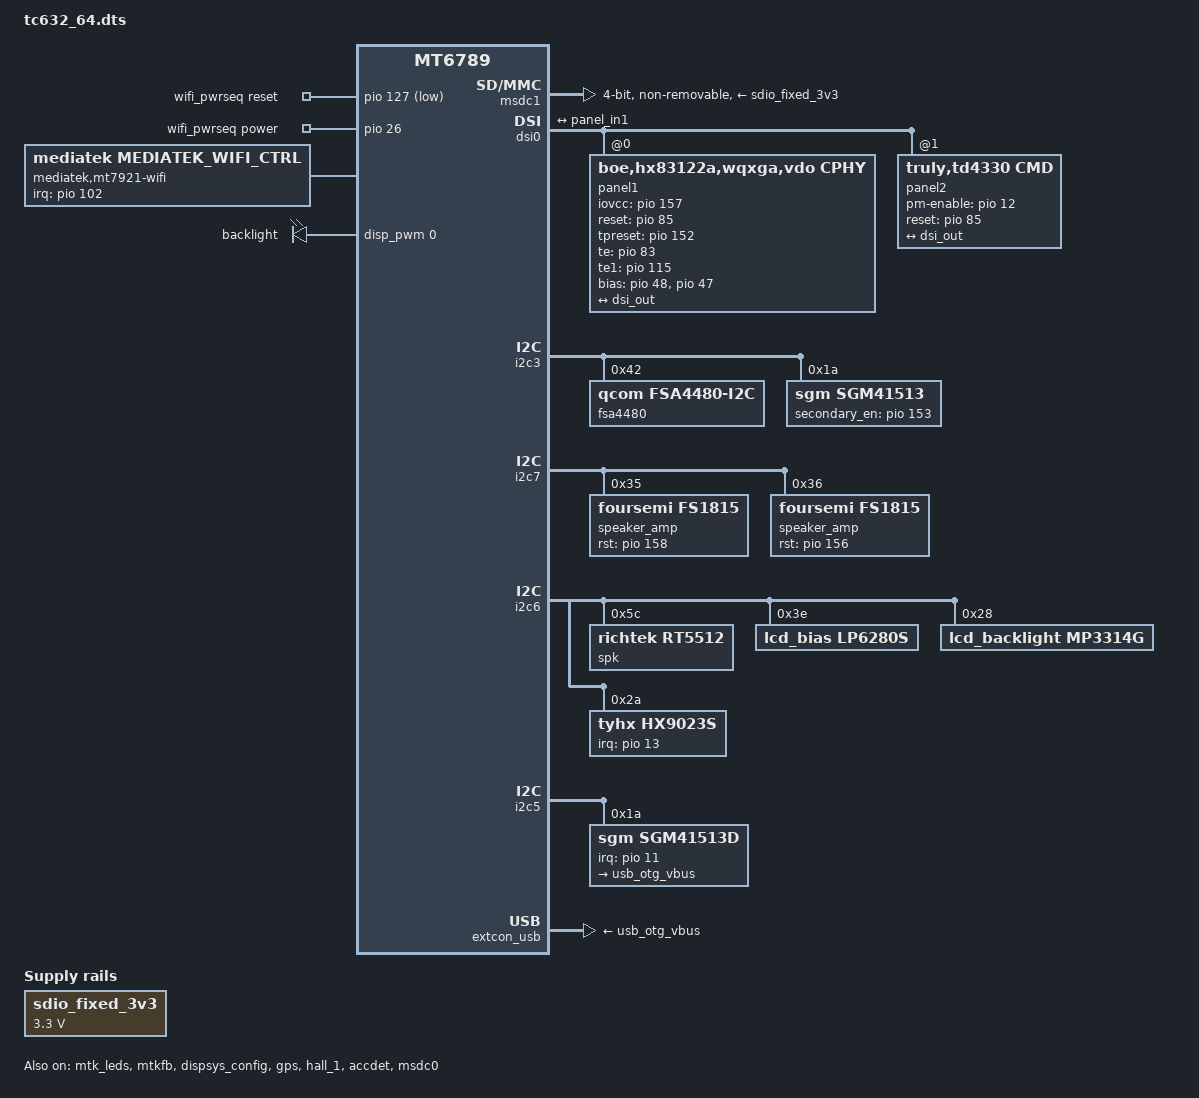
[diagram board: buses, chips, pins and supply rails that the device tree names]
// SPDX-License-Identifier: (GPL-2.0 OR MIT)
/*
 * Copyright (C) 2021 MediaTek Inc.
 */
/dts-v1/;
/plugin/;
#include <dt-bindings/interrupt-controller/arm-gic.h>
#include <dt-bindings/interrupt-controller/irq.h>
#include <dt-bindings/pinctrl/mt6789-pinfunc.h>
#include <dt-bindings/phy/phy.h>
#include "mediatek/cust_mt6789_camera.dtsi"
#include "mediatek/tcpc_config.dtsi"
#include <dt-bindings/clock/mt6789-clk.h>
#include <dt-bindings/gpio/gpio.h>

#define ROOT_NODE &odm

ROOT_NODE {
	#address-cells = <2>;
	#size-cells = <2>;
	ranges;

	wifi_pwrseq: wifi-pwrseq {
		compatible = "mmc-pwrseq-simple";
		status = "okay";
		pinctrl-names = "default";
		pinctrl-0 = <&wifi_pins_pwrseq>;
		reset-gpios = <&pio 127 1>;
		power-gpios = <&pio 26 0>;
		post-power-on-delay-ms = <200>;
	};
	sdio_fixed_3v3: fixedregulator@0 {
		compatible = "regulator-fixed";
		regulator-name = "sdio_fixed_3v3";
		regulator-min-microvolt = <3300000>;
		regulator-max-microvolt = <3300000>;
		enable-active-high;
		regulator-always-on;
	};
	mediatek,mt7921-wifi {
		compatible = "mediatek,mediatek_wifi_ctrl";
		interrupt-parent = <&pio>;
		interrupts = <102 IRQ_TYPE_EDGE_FALLING>;
		status = "okay";
	};

	msdc0: msdc@11230000 {
		compatible = "mediatek,mt6779-mmc";
		reg = <0 0x11230000 0 0x10000>,
			<0 0x11f50000 0 0x1000>;
		interrupts = <GIC_SPI 131 IRQ_TYPE_LEVEL_HIGH 0>;
		clocks = <&topckgen_clk CLK_TOP_MSDC50_0_HCLK_SEL>,
			<&topckgen_clk CLK_TOP_MSDC50_0_SEL>,
			<&topckgen_clk CLK_TOP_AES_MSDCFDE_SEL>,
			<&infracfg_ao_clk CLK_IFRAO_MSDC0>,
			<&infracfg_ao_clk CLK_IFRAO_MSDC0_SRC>,
			<&infracfg_ao_clk CLK_IFRAO_MSDC0_AES>;
		clock-names = "bus_clk", "source", "crypto_clk",
			"hclk", "source_cg", "crypto_cg";
		status = "disabled";
	};

	msdc1: mmc@11240000 {
		compatible = "mediatek,mt6779-mmc";
		status = "okay";
		reg = <0 0x11240000 0 0x1000>,
		      <0 0x11ef0000 0 0x1000>;
		interrupts = <GIC_SPI 135 IRQ_TYPE_LEVEL_HIGH 0>;
		clocks = <&topckgen_clk CLK_TOP_MSDC30_1_SEL>,
			<&infracfg_ao_clk CLK_IFRAO_MSDC1>,
			<&infracfg_ao_clk CLK_IFRAO_MSDC1_SRC>;
		clock-names = "source", "hclk", "source_cg";
		host-index = <1>;
		pinctrl-names = "default", "state_uhs", "state_eint", "state_dat1";
		pinctrl-0 = <&mmc1_pins_default>;
		pinctrl-1 = <&mmc1_pins_uhs>;
		pinctrl-2 = <&mmc1_pins_eint>;
		pinctrl-3 = <&mmc1_pins_dat1>;
		eint-gpios = <&pio 74 0>;
		bus-width = <4>;
		max-frequency = <200000000>;
		cap-sd-highspeed;
		sd-uhs-sdr50;
		sd-uhs-sdr104;
		cap-sdio-irq;
		cap-sdio-async-int;
		no-sd;
		no-mmc;
		keep-power-in-suspend;
		enable-sdio-wakeup;
		non-removable;
		vmmc-supply = <&sdio_fixed_3v3>;
		vqmmc-supply = <&mt6358_vio18_reg>;
		mmc-pwrseq = <&wifi_pwrseq>;
		pins_wow {
			pinmux = <PINMUX_GPIO102__FUNC_GPIO102>;
			input-enable;
			bias-disable;
		};
	};
};

&chosen {
};

&android {
	hardware = "mt8781";
};

&mtk_leds {
	compatible = "mediatek,pwm-leds";
	status = "okay";
	backlight {
		led_mode = <5>;
		pwms = <&disp_pwm 0 39385>;
		pwm-names = "lcd-backlight";
	};
};

&pio {
	mtkfb_pins_lcm_led_en1: lcm_led_en1_gpio {
		pins_cmd_dat {
			pinmux = <PINMUX_GPIO18__FUNC_GPIO18>;
			slew-rate = <1>;
			output-high;
		};
	};

	mtkfb_pins_lcm_led_en0: lcm_led_en0_gpio {
		pins_cmd_dat {
			pinmux = <PINMUX_GPIO18__FUNC_GPIO18>;
			slew-rate = <1>;
			output-low;
		};
	};

	mtkfb_pins_lcm_rst_out1_gpio: lcm_rst_out1_gpio {
		pins_cmd_dat {
			pinmux = <PINMUX_GPIO85__FUNC_GPIO85>;
			slew-rate = <1>;
			output-high;
		};
	};

	mtkfb_pins_lcm_rst_out0_gpio: lcm_rst_out0_gpio {
		pins_cmd_dat {
			pinmux = <PINMUX_GPIO85__FUNC_GPIO85>;
			slew-rate = <1>;
			output-low;
		};
	};
	mtkfb_pins_lcm_dsi_te: lcm_dsi_te {
		pins_cmd_dat {
			pinmux = <PINMUX_GPIO83__FUNC_DSI_TE>;
		};
	};
};

&pio {
	mmc1_pins_default: mmc1default {
		pins_cmd_dat {
			pinmux = <PINMUX_GPIO72__FUNC_MSDC1_CMD>,
				<PINMUX_GPIO73__FUNC_MSDC1_DAT0>,
				<PINMUX_GPIO74__FUNC_MSDC1_DAT1>,
				<PINMUX_GPIO75__FUNC_MSDC1_DAT2>,
				<PINMUX_GPIO76__FUNC_MSDC1_DAT3>;
			drive-strength = <MTK_DRIVE_6mA>;
			input-enable;
			bias-pull-up = <MTK_PUPD_SET_R1R0_01>;
		};
		pins_clk {
			pinmux = <PINMUX_GPIO71__FUNC_MSDC1_CLK>;
			drive-strength = <MTK_DRIVE_6mA>;
			bias-pull-down = <MTK_PUPD_SET_R1R0_10>;
			input-enable;
		};
	};
	mmc1_pins_uhs: mmc1 {
		pins_cmd_dat {
			pinmux = <PINMUX_GPIO72__FUNC_MSDC1_CMD>,
				<PINMUX_GPIO73__FUNC_MSDC1_DAT0>,
				<PINMUX_GPIO74__FUNC_MSDC1_DAT1>,
				<PINMUX_GPIO75__FUNC_MSDC1_DAT2>,
				<PINMUX_GPIO76__FUNC_MSDC1_DAT3>;
			drive-strength = <MTK_DRIVE_6mA>;
			input-enable;
			bias-pull-up = <MTK_PUPD_SET_R1R0_01>;
		};
		pins_clk {
			pinmux = <PINMUX_GPIO71__FUNC_MSDC1_CLK>;
			drive-strength = <MTK_DRIVE_6mA>;
			bias-pull-down = <MTK_PUPD_SET_R1R0_10>;
			input-enable;
		};
	};
	mmc1_pins_eint: mmc1eint {
		pins_dat1 {
			pinmux = <PINMUX_GPIO74__FUNC_GPIO74>;
			input-enable;
			bias-pull-up = <MTK_PUPD_SET_R1R0_01>;
		};
	};
	mmc1_pins_dat1: mmc1dat1 {
		pins_dat1 {
			pinmux = <PINMUX_GPIO74__FUNC_MSDC1_DAT1>;
			drive-strength = <MTK_DRIVE_6mA>;
			bias-pull-up = <MTK_PUPD_SET_R1R0_01>;
		};
	};
	wifi_pins_pwrseq: wifipwrseq {
		pins_wifi_reset {
			pinmux = <PINMUX_GPIO127__FUNC_GPIO127>;
			drive-strength = <MTK_DRIVE_6mA>;
			output-low;
		};
		pins_wifi_power {
			pinmux = <PINMUX_GPIO26__FUNC_GPIO26>;
			slew-rate = <1>;
			output-high;
		};
	};
};

&mtkfb {
	pinctrl-names = "lcm_led_en1_gpio", "lcm_led_en0_gpio",
		"lcm_rst_out1_gpio", "lcm_rst_out0_gpio",
		"mode_te_te";
	pinctrl-0 = <&mtkfb_pins_lcm_led_en1>;
	pinctrl-1 = <&mtkfb_pins_lcm_led_en0>;
	pinctrl-2 = <&mtkfb_pins_lcm_rst_out1_gpio>;
	pinctrl-3 = <&mtkfb_pins_lcm_rst_out0_gpio>;
	pinctrl-4 = <&mtkfb_pins_lcm_dsi_te>;
	status = "okay";
};

&dispsys_config {
	pinctrl-names =
		"lcm_rst_out1_gpio", "lcm_rst_out0_gpio",
		"mode_te_te";
	pinctrl-0 = <&mtkfb_pins_lcm_rst_out1_gpio>;
	pinctrl-1 = <&mtkfb_pins_lcm_rst_out0_gpio>;
	pinctrl-2 = <&mtkfb_pins_lcm_dsi_te>;
	status = "okay";
};

&dsi0 {
	status = "okay";
	#address-cells = <1>;
	#size-cells = <0>;
	panel1@0 {
		compatible = "boe,hx83122a,wqxga,vdo,cphy";
		reg = <0>;
		//pm-enable-gpios = <&pio 84 0>;
		iovcc-gpios = <&pio 157 0>;
		reset-gpios = <&pio 85 0>;
		tpreset-gpios = <&pio 152 0>;
		te-gpios = <&pio 83 0>;
		te1-gpios = <&pio 115 0>;
		bias-gpios= <&pio 48 0>, <&pio 47 0>;
		pinctrl-names = "default";
		port {
			panel_in1: endpoint {
				remote-endpoint = <&dsi_out>;
			};
		};
	};
	panel2@0 {
		compatible = "truly,td4330,cmd";
		reg = <1>;
		pm-enable-gpios = <&pio 12 0>;
		reset-gpios = <&pio 85 0>;
		gate-ic = <4831>;
		pinctrl-names = "default";
		port {
			panel_in2: endpoint {
				remote-endpoint = <&dsi_out>;
			};
		};
	};
	ports {
		port {
			dsi_out: endpoint {
				remote-endpoint = <&panel_in1>;
			};
		};
	};
};

/* GPS GPIO standardization start */
&pio {
	gps_pins_default: gps_default {
	};
	gps_l1_lna_pins_ol: gps_l1_lna@0 {
		pins_cmd_dat {
			pinmux = <PINMUX_GPIO25__FUNC_GPIO25>;
			output-low;
		};
	};
	gps_l1_lna_pins_dsp_ctrl: gps_l1_lna@1 {
		pins_cmd_dat {
			pinmux = <PINMUX_GPIO25__FUNC_GPS_L1_ELNA_EN>;
		};
	};
	gps_l1_lna_pins_oh: gps_l1_lna@2 {
		pins_cmd_dat {
			pinmux = <PINMUX_GPIO25__FUNC_GPIO25>;
			output-high;
		};
	};
	gps_l5_lna_pins_ol: gps_l5_lna@0 {
		pins_cmd_dat {
			pinmux = <PINMUX_GPIO26__FUNC_GPIO26>;
			output-low;
		};
	};
	gps_l5_lna_pins_dsp_ctrl: gps_l5_lna@1 {
		pins_cmd_dat {
			pinmux = <PINMUX_GPIO26__FUNC_GPS_L5_ELNA_EN>;
		};
	};
	gps_l5_lna_pins_oh: gps_l5_lna@2 {
		pins_cmd_dat {
			pinmux = <PINMUX_GPIO26__FUNC_GPIO26>;
			output-high;
		};
	};
};
&gps {
	pinctrl-names = "default",
		"gps_l1_lna_disable",
		"gps_l1_lna_dsp_ctrl",
		"gps_l1_lna_enable",
		"gps_l5_lna_disable",
		"gps_l5_lna_dsp_ctrl",
		"gps_l5_lna_enable";
	pinctrl-0 = <&gps_pins_default>;
	pinctrl-1 = <&gps_l1_lna_pins_ol>;
	pinctrl-2 = <&gps_l1_lna_pins_dsp_ctrl>;
	pinctrl-3 = <&gps_l1_lna_pins_oh>;
	pinctrl-4 = <&gps_l5_lna_pins_ol>;
	pinctrl-5 = <&gps_l5_lna_pins_dsp_ctrl>;
	pinctrl-6 = <&gps_l5_lna_pins_oh>;
	status = "okay";
};
/* GPS GPIO standardization end */

#include "mediatek/cust_mt6789_touch_nt36xxx_1200x2000.dtsi"
#include "mediatek/cust_mt6789_camera_v4l2.dtsi"

&i2c3 {
	/*
	was4780: was4780@42 {
		compatible = "willsemi,was4780-i2c";
		reg = <0x42>;
		status = "okay";
	};
	*/
	fsa4480: fsa4480@42 {
		compatible = "qcom,fsa4480-i2c";
		reg = <0x42>;
		status = "okay";
	};

        sgm41513@1A {
                compatible = "sgm,sgm41513";
                reg = <0x1A>;
                status = "okay";
                gpio_secondary_en = <&pio 153 0>;
                charger_name = "secondary_chg";
                alias_name = "sgm41513_secondary";
        };
};

&i2c7 {
	speaker_amp@35 {
		compatible = "foursemi,fs1815";
		reg = <0x35>;
		fsm,rst-gpio = <&pio 158 0>;
		status = "okay";
	};

	speaker_amp@36 {
		compatible = "foursemi,fs1815";
		reg = <0x36>;
		fsm,rst-gpio = <&pio 156 0>;
		status = "okay";
	};
};

&i2c6 {
	spk: speaker_amp@5c {
		compatible = "richtek,rt5512";
		#sound-dai-cells = <0>;
		reg = <0x5c>;
		status = "okay";
		sound-name-prefix = "Left";
	};
	lp6280s@3e {
		compatible = "lcd_bias,lp6280s";
		reg = <0x3e>;
		id = <6>;
		status = "okay";
	};
	
	mp3314g@28 {
		compatible = "lcd_backlight,mp3314g";
		reg = <0x28>;
		id = <6>;
		status = "okay";
	};	

	hx9023s: hx9023s@2a {
		compatible = "tyhx,hx9023s";
		reg = <0x2a>;
 		tyhx,irq-gpio = <&pio 13 0x0>;
		tyhx,irq-flags = <2>; //1:rising 2:falling
		tyhx,channel-flag = <0x7>;
		//tyhx,power-supply-type =<1>;//可选，如何供电，如果有的话，客户自行移植
		status = "okay";
	};
	
};

&hall_1{
pinctrl-names = "default", "hall_eint";
	pinctrl-0 = <&hall_eint_default>;
	pinctrl-1 = <&hall_eint_as_int>;
    interrupt-parent = <&pio>;
    interrupts = <7 IRQ_TYPE_LEVEL_LOW 7 0>;
	debouonce = <0>;
	status = "okay";
};
&pio {
	hall_eint_default: halldefault {
	};
	hall_eint_as_int: halleint{
		pins_cmd_dat {
			pinmux = <PINMUX_GPIO7__FUNC_GPIO7>;
			slew-rate = <0>;
			bias-disable;
		};
	};
};

&i2c5 {
        sgm41513d: sgm41513d@1A {
                compatible = "sgm,sgm41513d";
                reg = <0x1A>;
                status = "okay";
                charger_name = "primary_chg";
                alias_name = "sgm41513d_primary";
		irq-gpio = <&pio 11 0>;

		usb_otg_vbus: usb-otg-vbus {
			regulator-compatible = "usb-otg-vbus";
			regulator-name = "usb-otg-vbus";
		};
        };
};

/* accdet start */
&accdet {
	accdet-mic-vol = <6>;
	headset-mode-setting = <0x500 0x500 1 0x1f0 0x800 0x800 0x20 0x44>;
	accdet-plugout-debounce = <1>;
	accdet-mic-mode = <1>;
	headset-eint-level-pol = <8>;
	headset-three-key-threshold = <0 80 220 400>;
	headset-three-key-threshold-CDD = <0 121 192 600>;
	headset-four-key-threshold = <0 58 121 192 400>;
	pinctrl-names = "default", "state_eint_as_int";
	pinctrl-0 = <&accdet_pins_default>;
	pinctrl-1 = <&accdet_pins_eint_as_int>;
	status = "okay";
};
&pio {
	accdet_pins_default: accdetdefault {
	};
	accdet_pins_eint_as_int: accdeteint@0 {
		pins_cmd_dat {
			pinmux = <PINMUX_GPIO10__FUNC_GPIO10>;
			slew-rate = <0>;
			bias-disable;
		};
	};
};
/* accdet end */

&lk_charger {
	ac_charger_input_current = <2400000>;
	ac_charger_current = <3000000>;
	boot_battery_voltage = <3500000>;

	temp_t4_threshold = <55>;
};

&pdc {
	min_charger_voltage = <8400000>;
	pd_vbus_low_bound = <9000000>;
	pd_vbus_upper_bound = <1100000>;

	/* single charger */
	sc_input_current = <1000000>;

	/* dual charger in series*/
	dcs_input_current = <1100000>;
	dcs_chg1_charger_current = <3000000>;
	dcs_chg2_charger_current = <3000000>;

	/* dual charger */
	dual_polling_ieoc = <160000>;
	slave_mivr_diff = <0>;
};

&charger {
	charger = <&sgm41513d>;

	/* thermal: 0:single charger; 1:dual charger */
	charger_configuration= <1>;

	/* common */
	battery_cv = <4400000>;
	max_charger_voltage = <11000000>;

	/* sw jeita */
	enable_sw_jeita;
	jeita_temp_above_t4_cv = <4200000>;
	jeita_temp_t3_to_t4_cv = <4200000>;
	jeita_temp_t2_to_t3_cv = <4400000>;
	jeita_temp_t1_to_t2_cv = <4400000>;
	jeita_temp_t0_to_t1_cv = <4400000>;
	jeita_temp_below_t0_cv = <4400000>;
	temp_t4_thres = <55>;
	temp_t4_thres_minus_x_degree = <52>;
	temp_t3_thres = <45>;
	temp_t3_thres_minus_x_degree = <39>;
	temp_t2_thres = <15>;
	temp_t2_thres_plus_x_degree = <16>;
	temp_t1_thres = <0>;
	temp_t1_thres_plus_x_degree = <6>;
	temp_t0_thres = <0>;
	temp_t0_thres_plus_x_degree = <0>;
	temp_neg_10_thres = <0>;

	/* battery temperature protection */
	enable_min_charge_temp;
	min_charge_temp = <0>;
	min_charge_temp_plus_x_degree = <6>;
	max_charge_temp = <55>;
	max_charge_temp_minus_x_degree = <52>;
	charge_shutdown_temp = <59>;

	/* charging current */
	usb_charger_current = <500000>;
	ac_charger_current = <3000000>;
	ac_charger_input_current = <2000000>;
	charging_host_charger_current = <1500000>;
};

&extcon_usb {
        vbus-supply = <&usb_otg_vbus>;
        vbus-voltage;
        vbus-current;
        charger = <&sgm41513d>;
};

&u2port0 {
	mediatek,eye-vrt = <5>;
	mediatek,eye-term = <5>;
	mediatek,rev6 = <3>;
};

&mtk_gauge {
	charger = <&sgm41513d>;
	gauge = <&mtk_gauge>;
};

#include "mediatek/bat_setting/tc643_mt6789_battery_prop.dtsi"

&mtk_ctd {
        bc12 = <&sgm41513d>;
        bc12_sel = <2>;
};

&sound {
	mediatek,spk-i2s = <3 0>;
	mediatek,speaker-codec {
		sound-dai = <&spk>;
	};
};

/*Microtrust utos real driver*/
&utos {
	microtrust,real-drv = <1>;
};

&mtee_svp{
	mtee: MTEE{
		compatible = "mediatek,mtk_svp_on_mtee_support";
	};

	svp:SecureVideoPath{
		compatible = "mediatek,mtk_sec_video_path_support";
	};
};

&mddriver {
	ref_args = "md_disable";
};
#include <tc632_64/cust.dtsi>

&msdc0 {
	status = "okay";
	compatible = "mediatek,mt6779-mmc";
	host-index = <0>;
	pinctrl-names = "default", "state_uhs";
	pinctrl-0 = <&mmc0_pins_default>;
	pinctrl-1 = <&mmc0_pins_uhs>;
	bus-width = <4>;
	max-frequency = <200000000>;
	ocr-voltage = <0x00030000>;
	cap-sd-highspeed;
	sd-uhs-sdr12;
	sd-uhs-sdr25;
	sd-uhs-sdr50;
	sd-uhs-sdr104;
	sd-uhs-ddr50;
	cd-debounce-delay-ms = <0>;
	cd-gpios = <&pio 12 GPIO_ACTIVE_HIGH>;
	vmmc-supply = <&mt6358_vmch_reg>;
	vqmmc-supply = <&mt6358_vmc_reg>;
	no-mmc;
	no-sdio;
	req-vcore = <650000>;
};

&pio {
	mmc0_pins_default: mmc0default {
		pins_cmd_dat {
			pinmux = <PINMUX_GPIO58__FUNC_MSDC0_DAT0>,
				<PINMUX_GPIO59__FUNC_MSDC0_DAT1>,
				<PINMUX_GPIO60__FUNC_MSDC0_DAT2>,
				<PINMUX_GPIO61__FUNC_MSDC0_DAT3>,
				<PINMUX_GPIO56__FUNC_MSDC0_CMD>;
			input-enable;
			drive-strength = <4>;
			bias-pull-up = <MTK_PUPD_SET_R1R0_01>;
		};
		pins_clk {
			pinmux = <PINMUX_GPIO55__FUNC_MSDC0_CLK>;
			drive-strength = <4>;
			bias-pull-down = <MTK_PUPD_SET_R1R0_10>;
		};
	};
	mmc0_pins_uhs: mmc0@0{
		pins_cmd_dat {
			pinmux = <PINMUX_GPIO58__FUNC_MSDC0_DAT0>,
				<PINMUX_GPIO59__FUNC_MSDC0_DAT1>,
				<PINMUX_GPIO60__FUNC_MSDC0_DAT2>,
				<PINMUX_GPIO61__FUNC_MSDC0_DAT3>,
				<PINMUX_GPIO56__FUNC_MSDC0_CMD>;
			input-enable;
			drive-strength = <6>;
			bias-pull-up = <MTK_PUPD_SET_R1R0_01>;
		};
		pins_clk {
			pinmux = <PINMUX_GPIO55__FUNC_MSDC0_CLK>;
			drive-strength = <6>;
			bias-pull-down = <MTK_PUPD_SET_R1R0_10>;
		};
	};
};

/*End of this file, DO NOT ADD ANYTHING HERE*/
